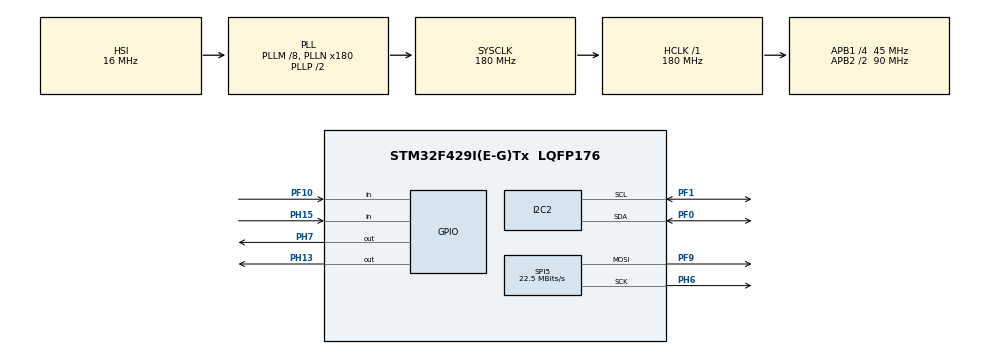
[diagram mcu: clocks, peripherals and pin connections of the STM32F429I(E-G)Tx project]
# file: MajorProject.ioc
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Mcu.Family=STM32F4
Mcu.Name=STM32F429I(E-G)Tx
Mcu.Package=LQFP176
NVIC.PriorityGroup=NVIC_PRIORITYGROUP_4
PA13.Mode=Serial_Wire
PA13.Signal=SYS_JTMS-SWDIO
PA14.Mode=Serial_Wire
PA14.Signal=SYS_JTCK-SWCLK
PF0.Mode=I2C
PF0.Signal=I2C2_SDA
PF1.Mode=I2C
PF1.Signal=I2C2_SCL
PF10.Signal=GPIO_Input
PF9.GPIO_PuPd=GPIO_PULLUP
PF9.Mode=TX_Only_Simplex_Unidirect_Master
PF9.Signal=SPI5_MOSI
PH0/OSC_IN.Mode=HSE-External-Oscillator
PH0/OSC_IN.Signal=RCC_OSC_IN
PH1/OSC_OUT.Mode=HSE-External-Oscillator
PH1/OSC_OUT.Signal=RCC_OSC_OUT
PH13.Signal=GPIO_Output
PH15.Signal=GPIO_Input
PH6.GPIO_PuPd=GPIO_PULLUP
PH6.Mode=TX_Only_Simplex_Unidirect_Master
PH6.Signal=SPI5_SCK
PH7.Signal=GPIO_Output
ProjectManager.HeapSize=0x200
ProjectManager.StackSize=0x400
ProjectManager.TargetToolchain=STM32CubeIDE
RCC.48MHZClocksFreq_Value=90000000
RCC.AHBFreq_Value=180000000
RCC.APB1CLKDivider=RCC_HCLK_DIV4
RCC.APB1Freq_Value=45000000
RCC.APB1TimFreq_Value=90000000
RCC.APB2CLKDivider=RCC_HCLK_DIV2
RCC.APB2Freq_Value=90000000
RCC.APB2TimFreq_Value=180000000
RCC.CortexFreq_Value=180000000
RCC.HCLKFreq_Value=180000000
RCC.HSE_VALUE=25000000
RCC.HSI_VALUE=16000000
RCC.LSE_VALUE=32768
RCC.PLLM=8
RCC.PLLN=180
RCC.SYSCLKFreq_VALUE=180000000
RCC.SYSCLKSource=RCC_SYSCLKSOURCE_PLLCLK
RCC.VCOOutputFreq_Value=360000000
SPI5.BaudRatePrescaler=SPI_BAUDRATEPRESCALER_4
SPI5.CalculateBaudRate=22.5 MBits/s
SPI5.Direction=SPI_DIRECTION_2LINES
SPI5.Mode=SPI_MODE_MASTER
SPI5.VirtualType=VM_MASTER
board=custom

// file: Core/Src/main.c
/* USER CODE BEGIN Header */
/**
  ******************************************************************************
  * @file           : main.c
  * @brief          : Main program body
  ******************************************************************************
  * @attention
  *
  * <h2><center>&copy; Copyright (c) 2021 STMicroelectronics.
  * All rights reserved.</center></h2>
  *
  * This software component is licensed by ST under BSD 3-Clause license,
  * the "License"; You may not use this file except in compliance with the
  * License. You may obtain a copy of the License at:
  *                        opensource.org/licenses/BSD-3-Clause
  *
  ******************************************************************************
  */
/* USER CODE END Header */
#include "main.h"
#include "i2c.h"
#include "spi.h"
#include "gpio.h"

/* USER CODE BEGIN Includes */
#include "LCD/lcd_init.h"
#include "LCD/lcd.h"
#include "LCD/pic.h"
#include "DELAY/delay.h"
#include "24CXX/24cxx.h"
#include "IIC/aht10_iic.h"
#include "AHT10/aht10.h"
/* USER CODE END Includes */

/* USER CODE BEGIN PV */
extern float 	g_relative_humidity;
extern float 	g_temperature;
/* USER CODE END PV */

void SystemClock_Config(void);

/* USER CODE BEGIN 0 */
//uint32_t HAL_delay(180);
/* USER CODE END 0 */

int main(void)
{

  /* MCU Configuration--------------------------------------------------------*/

  /* Reset of all peripherals, Initializes the Flash interface and the Systick. */
  HAL_Init();

  /* Configure the system clock */
  SystemClock_Config();

  /* Initialize all configured peripherals */
  MX_GPIO_Init();
  MX_SPI5_Init();
  MX_I2C2_Init();
  /* USER CODE BEGIN 2 */
	delay_init(180);			//延时初始�??
	LCD_Init();						//LCD初始�??
	LCD_Fill(0,0,LCD_W,LCD_H,WHITE);	//屏幕刷白
	AHT10_Init();				//AHT10模拟iic

  /* USER CODE END 2 */

  /* Infinite loop */
  while (1)
  {

    /* USER CODE BEGIN 3 */

		LCD_ShowString(0,0,"     SHOW  ",BLACK,WHITE,32,0);		//字符�??

		AHT10_Read();				//读取温湿�??

		LCD_ShowString(0,50,"Humidity:",BLUE,WHITE,32,0);
		LCD_ShowFloatNum1(100,100,g_relative_humidity,4,BLUE,WHITE,32);
		LCD_ShowString(200,100,"%",BLUE,WHITE,32,0);

		LCD_ShowString(0,150,"Temperature:",RED,WHITE,32,0);
		LCD_ShowFloatNum1(100,200,g_temperature,4,RED,WHITE,32);
		LCD_ShowString(200,200,"C",RED,WHITE,32,0);
  }
  /* USER CODE END 3 */
}

void SystemClock_Config(void)
{
  RCC_OscInitTypeDef RCC_OscInitStruct = {0};
  RCC_ClkInitTypeDef RCC_ClkInitStruct = {0};

  /** Configure the main internal regulator output voltage
  */
  __HAL_RCC_PWR_CLK_ENABLE();
  __HAL_PWR_VOLTAGESCALING_CONFIG(PWR_REGULATOR_VOLTAGE_SCALE1);
  /** Initializes the RCC Oscillators according to the specified parameters
  * in the RCC_OscInitTypeDef structure.
  */
  RCC_OscInitStruct.OscillatorType = RCC_OSCILLATORTYPE_HSI;
  RCC_OscInitStruct.HSIState = RCC_HSI_ON;
  RCC_OscInitStruct.HSICalibrationValue = RCC_HSICALIBRATION_DEFAULT;
  RCC_OscInitStruct.PLL.PLLState = RCC_PLL_ON;
  RCC_OscInitStruct.PLL.PLLSource = RCC_PLLSOURCE_HSI;
  RCC_OscInitStruct.PLL.PLLM = 8;
  RCC_OscInitStruct.PLL.PLLN = 180;
  RCC_OscInitStruct.PLL.PLLP = RCC_PLLP_DIV2;
  RCC_OscInitStruct.PLL.PLLQ = 4;
  if (HAL_RCC_OscConfig(&RCC_OscInitStruct) != HAL_OK)
  {
    Error_Handler();
  }
  /** Activate the Over-Drive mode
  */
  if (HAL_PWREx_EnableOverDrive() != HAL_OK)
  {
    Error_Handler();
  }
  /** Initializes the CPU, AHB and APB buses clocks
  */
  RCC_ClkInitStruct.ClockType = RCC_CLOCKTYPE_HCLK|RCC_CLOCKTYPE_SYSCLK
                              |RCC_CLOCKTYPE_PCLK1|RCC_CLOCKTYPE_PCLK2;
  RCC_ClkInitStruct.SYSCLKSource = RCC_SYSCLKSOURCE_PLLCLK;
  RCC_ClkInitStruct.AHBCLKDivider = RCC_SYSCLK_DIV1;
  RCC_ClkInitStruct.APB1CLKDivider = RCC_HCLK_DIV4;
  RCC_ClkInitStruct.APB2CLKDivider = RCC_HCLK_DIV2;

  if (HAL_RCC_ClockConfig(&RCC_ClkInitStruct, FLASH_LATENCY_5) != HAL_OK)
  {
    Error_Handler();
  }
}

void Error_Handler(void)
{
}

/************************ (C) COPYRIGHT STMicroelectronics *****END OF FILE****/
